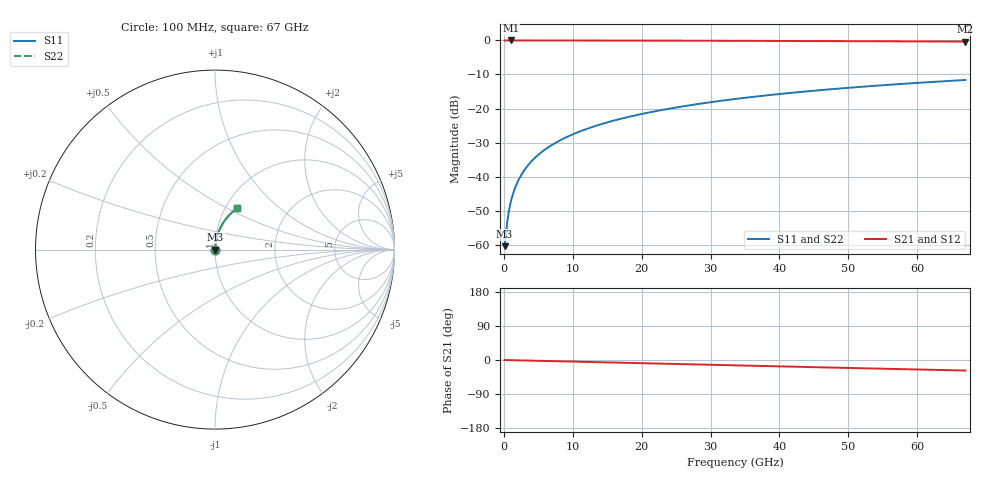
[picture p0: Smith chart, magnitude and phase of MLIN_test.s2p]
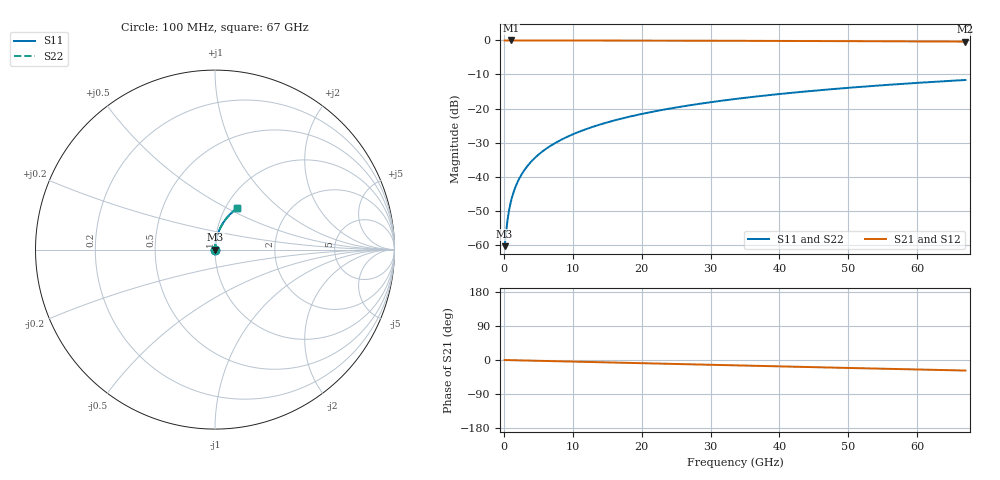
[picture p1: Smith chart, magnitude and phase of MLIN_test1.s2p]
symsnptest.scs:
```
simulator lang=local
global 0

NPORT0 1 0 2 0 nport file="E:\Saves\pycharm\HowToElementBuilder\Code\symica/MLIN_test.s2p"

PORT0 1 0 port r=50 num=1 type=sine rptstart=1 rpttimes=0
PORT1 2 0 port r=50 num=2 type=sine rptstart=1 rpttimes=0

SPSweep sp start=0.1G stop=67.0G step=0.1G file="E:\Saves\pycharm\HowToElementBuilder\Code\symica/MLIN_test1.s2p"
DEFAULT_OPTIONS options tnom=27 temp=27 reltol=1.000000e-03
```
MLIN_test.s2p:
! Touchstone Ver. 1.0
! Number of ports is 2
# Hz  S RI  R  50
! SCATTERING PARAMETERS  :
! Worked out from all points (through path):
!   670 points, 100 MHz to 67 GHz, reference 50 ohm
!   highest |S21| = -0.01 dB at 1 GHz (marker M1); lowest = -0.3 dB at 67 GHz (marker M2)
!   group delay of S21, straight-line fit = 1.16 ps
!   lowest |S11| = -60.4 dB at 100 MHz (marker M3), VSWR 1.00, Z = 50.1 + j0.0419 ohm
!   |S11| at or under -10 dB: start of sweep to end of sweep
!   |S22| runs from -60.4 to -11.6 dB; largest |S21 - S12| = 0
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1e8  0.000856 0.000418  0.9991 -0.000743  0.9991 -0.000743  0.000856 0.000418
7e8  0.000725 0.00293  0.9993 -0.0052  0.9993 -0.0052  0.000725 0.00293
1e9  0.00071 0.00419  0.9993 -0.00743  0.9993 -0.00743  0.00071 0.00419
1.5e9  0.00078 0.00628  0.9992 -0.0111  0.9992 -0.0111  0.00078 0.00628
2.1e9  0.000885 0.00879  0.9991 -0.0156  0.9991 -0.0156  0.000885 0.00879
3.7e9  0.00127 0.0155  0.9986 -0.0275  0.9986 -0.0275  0.00127 0.0155
6.1e9  0.00217 0.0255  0.9976 -0.0453  0.9976 -0.0453  0.00217 0.0255
9.3e9  0.00393 0.0387  0.9955 -0.0689  0.9955 -0.0689  0.00393 0.0387
1.89e10  0.0127 0.0777  0.9852 -0.139  0.9852 -0.139  0.0127 0.0777
3.36e10  0.0361 0.1334  0.9576 -0.2425  0.9576 -0.2425  0.0361 0.1334
6.7e10  0.1252 0.2308  0.8501 -0.4486  0.8501 -0.4486  0.1252 0.2308
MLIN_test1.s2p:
! Touchstone Ver. 1.0
! Number of ports is 2
# Hz  S RI  R  50
! SCATTERING PARAMETERS  :
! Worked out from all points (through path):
!   670 points, 100 MHz to 67 GHz, reference 50 ohm
!   highest |S21| = -0.01 dB at 1 GHz (marker M1); lowest = -0.3 dB at 67 GHz (marker M2)
!   group delay of S21, straight-line fit = 1.16 ps
!   lowest |S11| = -60.4 dB at 100 MHz (marker M3), VSWR 1.00, Z = 50.1 + j0.0419 ohm
!   |S11| at or under -10 dB: start of sweep to end of sweep
!   |S22| runs from -60.4 to -11.6 dB; largest |S21 - S12| = 0
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1e8  0.000856 0.000418  0.9991 -0.000743  0.9991 -0.000743  0.000856 0.000418
7e8  0.000725 0.00293  0.9993 -0.0052  0.9993 -0.0052  0.000725 0.00293
1e9  0.00071 0.00419  0.9993 -0.00743  0.9993 -0.00743  0.00071 0.00419
1.5e9  0.00078 0.00628  0.9992 -0.0111  0.9992 -0.0111  0.00078 0.00628
2.1e9  0.000885 0.00879  0.9991 -0.0156  0.9991 -0.0156  0.000885 0.00879
3.7e9  0.00127 0.0155  0.9986 -0.0275  0.9986 -0.0275  0.00127 0.0155
6.1e9  0.00217 0.0255  0.9976 -0.0453  0.9976 -0.0453  0.00217 0.0255
9.3e9  0.00393 0.0387  0.9955 -0.0689  0.9955 -0.0689  0.00393 0.0387
1.89e10  0.0127 0.0777  0.9852 -0.139  0.9852 -0.139  0.0127 0.0777
3.36e10  0.0361 0.1334  0.9576 -0.2425  0.9576 -0.2425  0.0361 0.1334
6.7e10  0.1252 0.2308  0.8501 -0.4486  0.8501 -0.4486  0.1252 0.2308
